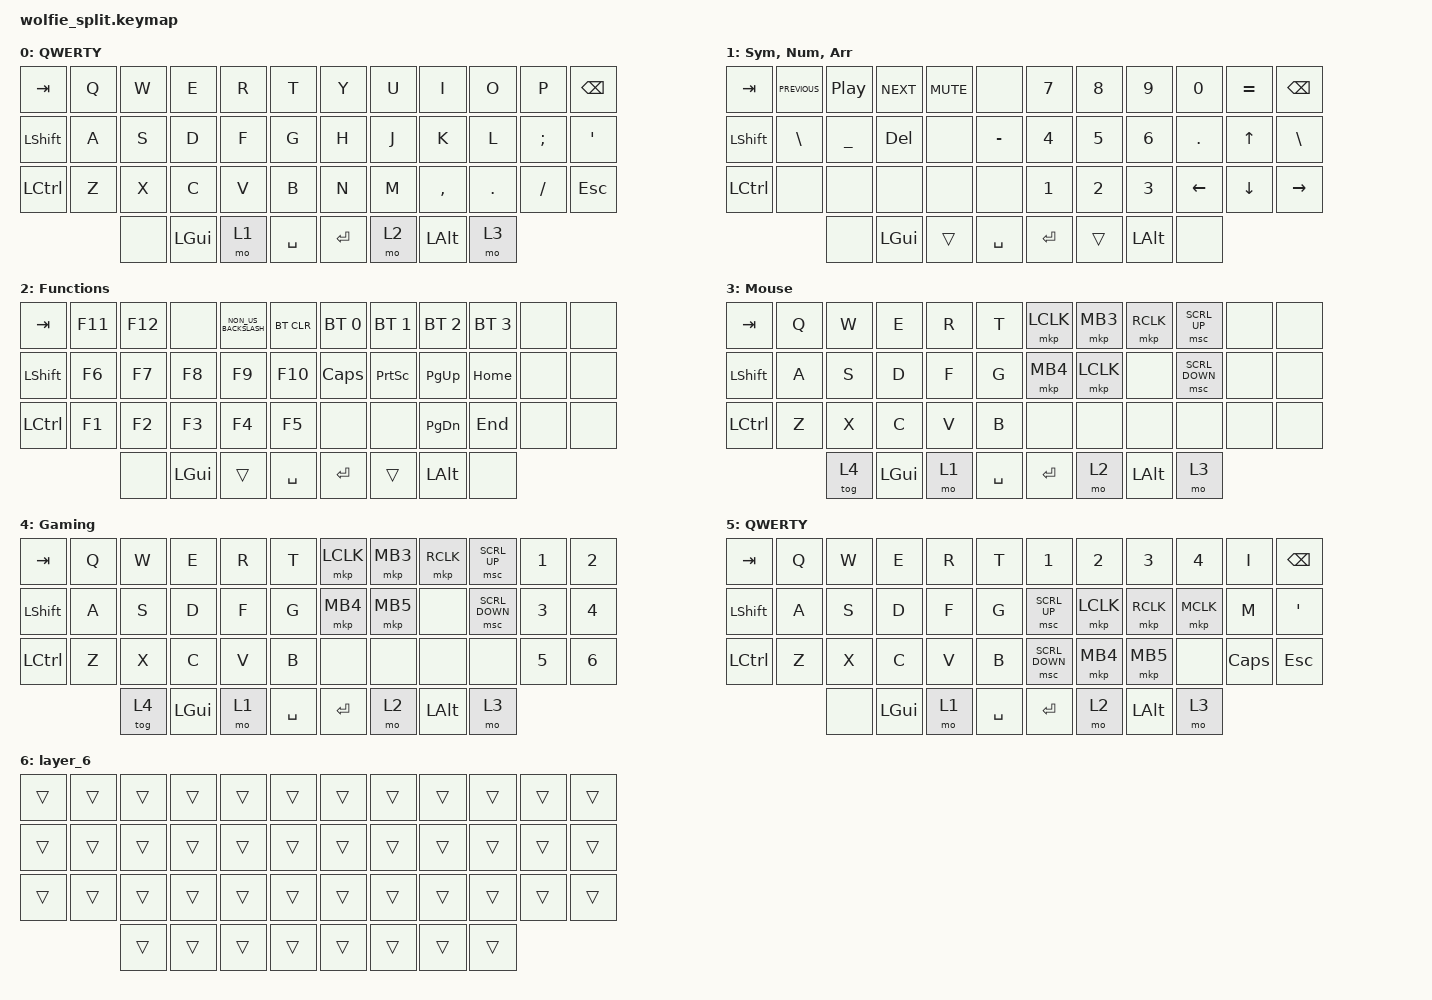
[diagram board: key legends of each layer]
/*
 * Wolfie Split Trackball — 44-key editor keymap
 * Converted from corne_choc_pro.keymap for use with the existing Wolfie 44-key
 * matrix transform and config/wolfie_split.json layout definition.
 *
 * Original Corne file: 14 + 14 + 12 + 6 = 46 positions.
 * Wolfie output:       12 + 12 + 12 + 8 = 44 positions.
 * Deleted Corne inner-row media/modifier positions (4 total).
 * Added one unassigned thumb position at left OUTER end and right OUTER end.
 * NOTE: Provisional placement; verify physical matrix mapping before flashing.
 * Replaced unsupported/uncertain Corne RGB and studio_unlock bindings with &none.
 * Encoder sensor-bindings intentionally omitted: they are not PMW3610 inputs.
 * Keeps 10 layer indexes unchanged; Mouse is layer 9.
 */

#include <behaviors.dtsi>
#include <dt-bindings/zmk/bt.h>
#include <dt-bindings/zmk/keys.h>
#include <dt-bindings/zmk/pointing.h>

/ {
    keymap {
        compatible = "zmk,keymap";

        default_layer {
            display-name = "QWERTY";

            /* Each of rows 0-2: 6 left keys, then 6 right keys.
             * Thumbs: 4 left keys, then 4 right keys. */

            bindings = <
&kp TAB           &kp Q  &kp W  &kp E     &kp R  &kp T      &kp Y    &kp U  &kp I      &kp O       &kp P     &kp BSPC
&kp LEFT_SHIFT    &kp A  &kp S  &kp D     &kp F  &kp G      &kp H    &kp J  &kp K      &kp L       &kp SEMI  &kp SQT
&kp LEFT_CONTROL  &kp Z  &kp X  &kp C     &kp V  &kp B      &kp N    &kp M  &kp COMMA  &kp PERIOD  &kp FSLH  &kp ESCAPE
                         &none  &kp LGUI  &mo 1  &kp SPACE  &kp RET  &mo 2  &kp LALT   &mo 3
            >;
        };

        lower_layer {
            display-name = "Sym, Num, Arr";

            /* Each of rows 0-2: 6 left keys, then 6 right keys.
             * Thumbs: 4 left keys, then 4 right keys. */

            bindings = <
&kp TAB           &kp C_PREVIOUS  &kp C_PLAY_PAUSE  &kp C_NEXT  &kp C_MUTE  &none      &kp N7        &kp N8        &kp N9        &kp N0      &kp EQUAL     &kp BSPC
&kp LEFT_SHIFT    &kp BACKSLASH   &kp UNDER         &kp DEL     &none       &kp MINUS  &kp NUMBER_4  &kp N5        &kp NUMBER_6  &kp PERIOD  &kp UP_ARROW  &kp BACKSLASH
&kp LEFT_CONTROL  &none           &none             &none       &none       &none      &kp NUMBER_1  &kp NUMBER_2  &kp NUMBER_3  &kp LEFT    &kp DOWN      &kp RIGHT
                                  &none             &kp LGUI    &trans      &kp SPACE  &kp RET       &trans        &kp LEFT_ALT  &none
            >;
        };

        raise_layer {
            display-name = "Functions";

            /* Each of rows 0-2: 6 left keys, then 6 right keys.
             * Thumbs: 4 left keys, then 4 right keys. */

            bindings = <
&kp TAB           &kp F11  &kp F12  &none     &kp NON_US_BACKSLASH  &bt BT_CLR  &bt BT_SEL 0  &bt BT_SEL 1     &bt BT_SEL 2  &bt BT_SEL 3  &none  &none
&kp LEFT_SHIFT    &kp F6   &kp F7   &kp F8    &kp F9                &kp F10     &kp CAPS      &kp PRINTSCREEN  &kp PG_UP     &kp HOME      &none  &none
&kp LEFT_CONTROL  &kp F1   &kp F2   &kp F3    &kp F4                &kp F5      &none         &none            &kp PG_DN     &kp END       &none  &none
                           &none    &kp LGUI  &trans                &kp SPACE   &kp RET       &trans           &kp LEFT_ALT  &none
            >;
        };

        layer_3 {
            display-name = "Mouse";
            bindings = <
&kp TAB           &kp Q  &kp W   &kp E     &kp R  &kp T      &mkp LCLK  &mkp MB3   &mkp RCLK  &msc SCRL_UP    &none  &none
&kp LEFT_SHIFT    &kp A  &kp S   &kp D     &kp F  &kp G      &mkp MB4   &mkp LCLK  &none      &msc SCRL_DOWN  &none  &none
&kp LEFT_CONTROL  &kp Z  &kp X   &kp C     &kp V  &kp B      &none      &none      &none      &none           &none  &none
                         &tog 4  &kp LGUI  &mo 1  &kp SPACE  &kp RET    &mo 2      &kp LALT   &mo 3
            >;
        };

        layer_4 {
            display-name = "Gaming";
            bindings = <
&kp TAB           &kp Q  &kp W   &kp E     &kp R  &kp T      &mkp LCLK  &mkp MB3  &mkp RCLK  &msc SCRL_UP    &kp NUMBER_1  &kp NUMBER_2
&kp LEFT_SHIFT    &kp A  &kp S   &kp D     &kp F  &kp G      &mkp MB4   &mkp MB5  &none      &msc SCRL_DOWN  &kp NUMBER_3  &kp NUMBER_4
&kp LEFT_CONTROL  &kp Z  &kp X   &kp C     &kp V  &kp B      &none      &none     &none      &none           &kp N5        &kp NUMBER_6
                         &tog 4  &kp LGUI  &mo 1  &kp SPACE  &kp RET    &mo 2     &kp LALT   &mo 3
            >;
        };

        layer_5 {
            display-name = "QWERTY";
            bindings = <
&kp TAB           &kp Q  &kp W  &kp E     &kp R  &kp T      &kp NUMBER_1    &kp NUMBER_2  &kp NUMBER_3  &kp NUMBER_4  &kp I     &kp BSPC
&kp LEFT_SHIFT    &kp A  &kp S  &kp D     &kp F  &kp G      &msc SCRL_UP    &mkp LCLK     &mkp RCLK     &mkp MCLK     &kp M     &kp SQT
&kp LEFT_CONTROL  &kp Z  &kp X  &kp C     &kp V  &kp B      &msc SCRL_DOWN  &mkp MB4      &mkp MB5      &none         &kp CAPS  &kp ESCAPE
                         &none  &kp LGUI  &mo 1  &kp SPACE  &kp RET         &mo 2         &kp LALT      &mo 3
            >;
        };

        layer_6 {
            bindings = <
&trans  &trans  &trans  &trans  &trans  &trans  &trans  &trans  &trans  &trans  &trans  &trans
&trans  &trans  &trans  &trans  &trans  &trans  &trans  &trans  &trans  &trans  &trans  &trans
&trans  &trans  &trans  &trans  &trans  &trans  &trans  &trans  &trans  &trans  &trans  &trans
                &trans  &trans  &trans  &trans  &trans  &trans  &trans  &trans
            >;
        };
    };
};
